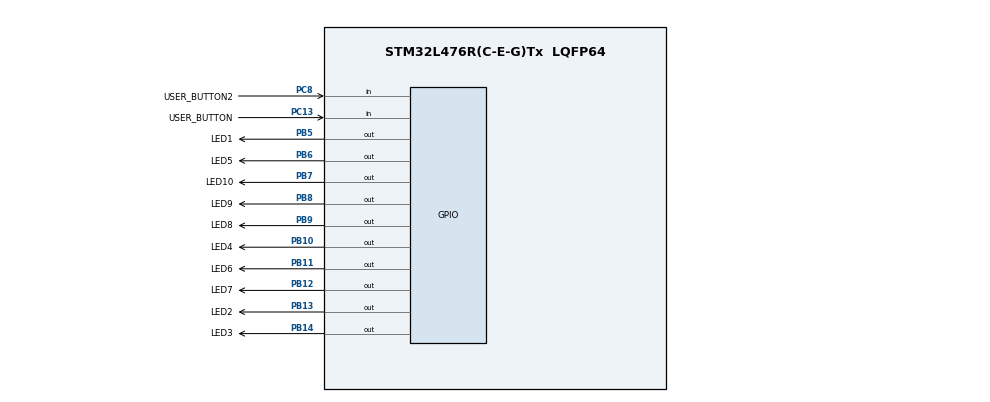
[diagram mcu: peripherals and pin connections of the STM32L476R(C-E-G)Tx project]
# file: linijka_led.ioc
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Mcu.Family=STM32L4
Mcu.Name=STM32L476R(C-E-G)Tx
Mcu.Package=LQFP64
NVIC.PriorityGroup=NVIC_PRIORITYGROUP_4
PB10.GPIO_Label=LED4
PB10.Signal=GPIO_Output
PB11.GPIO_Label=LED6
PB11.Signal=GPIO_Output
PB12.GPIO_Label=LED7
PB12.Signal=GPIO_Output
PB13.GPIO_Label=LED2
PB13.Signal=GPIO_Output
PB14.GPIO_Label=LED3
PB14.Signal=GPIO_Output
PB5.GPIO_Label=LED1
PB5.Signal=GPIO_Output
PB6.GPIO_Label=LED5
PB6.Signal=GPIO_Output
PB7.GPIO_Label=LED10
PB7.Signal=GPIO_Output
PB8.GPIO_Label=LED9
PB8.Signal=GPIO_Output
PB9.GPIO_Label=LED8
PB9.Signal=GPIO_Output
PC13.GPIO_Label=USER_BUTTON
PC13.Signal=GPIO_Input
PC8.GPIO_Label=USER_BUTTON2
PC8.GPIO_PuPd=GPIO_PULLUP
PC8.Signal=GPIO_Input
ProjectManager.HeapSize=0x200
ProjectManager.StackSize=0x400
ProjectManager.TargetToolchain=STM32CubeIDE
RCC.HSE_VALUE=8000000
RCC.HSI_VALUE=16000000
RCC.LSE_VALUE=32768
RCC.MSI_VALUE=4000000
RCC.VCOOutputFreq_Value=32000000
board=custom

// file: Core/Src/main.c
/* USER CODE BEGIN Header */
/**
  ******************************************************************************
  * @file           : main.c
  * @brief          : Main program body
  ******************************************************************************
  * @attention
  *
  * Copyright (c) 2024 STMicroelectronics.
  * All rights reserved.
  *
  * This software is licensed under terms that can be found in the LICENSE file
  * in the root directory of this software component.
  * If no LICENSE file comes with this software, it is provided AS-IS.
  *
  ******************************************************************************
  */
/* USER CODE END Header */
#include "main.h"

/* USER CODE BEGIN Includes */
#include <stdbool.h>

/* USER CODE END Includes */

void SystemClock_Config(void);
static void MX_GPIO_Init(void);

/* USER CODE BEGIN 0 */
/*
void led_set(int led, bool turn_on)
{
	GPIO_PinState state;

	if (turn_on) {
		state = GPIO_PIN_SET;
	} else {
		state = GPIO_PIN_RESET;
	}

	if (led >= 0 && led < 10) {
		HAL_GPIO_WritePin(LED1_GPIO_Port, LED1_Pin << led, state);
	}
}*/
//Ta sama funkcja na swich
/*
 *

void led_set(int led, bool turn_on)
{
	GPIO_PinState state = (turn_on) ? GPIO_PIN_SET : GPIO_PIN_RESET;

	switch (led) {
	case 0:
		HAL_GPIO_WritePin(LED1_GPIO_Port, LED1_Pin, state);
		break;
	case 1:
		HAL_GPIO_WritePin(LED2_GPIO_Port, LED2_Pin, state);
		break;
	case 2:
		HAL_GPIO_WritePin(LED3_GPIO_Port, LED3_Pin, state);
		break;
	case 3:
		HAL_GPIO_WritePin(LED4_GPIO_Port, LED4_Pin, state);
		break;
	case 4:
		HAL_GPIO_WritePin(LED5_GPIO_Port, LED5_Pin, state);
		break;
	case 5:
		HAL_GPIO_WritePin(LED6_GPIO_Port, LED6_Pin, state);
		break;
	case 6:
		HAL_GPIO_WritePin(LED7_GPIO_Port, LED7_Pin, state);
		break;
	case 7:
		HAL_GPIO_WritePin(LED8_GPIO_Port, LED8_Pin, state);
		break;
	case 8:
		HAL_GPIO_WritePin(LED9_GPIO_Port, LED9_Pin, state);
		break;
	case 9:
		HAL_GPIO_WritePin(LED10_GPIO_Port, LED10_Pin, state);
		break;
	default:
		break;
	}
}
 *
 */
//jeszcze raz to samo, ale na tablicach
/*
static GPIO_TypeDef* const LED_PORT[] = {
		LED1_GPIO_Port, LED2_GPIO_Port, LED3_GPIO_Port, LED4_GPIO_Port, LED5_GPIO_Port,
		LED6_GPIO_Port, LED7_GPIO_Port, LED8_GPIO_Port, LED9_GPIO_Port, LED10_GPIO_Port,
};
static const uint16_t LED_PIN[] = {
    LED1_Pin, LED2_Pin, LED3_Pin, LED4_Pin, LED5_Pin,
    LED6_Pin, LED7_Pin, LED8_Pin, LED9_Pin, LED10_Pin,
};

void led_set(int led, bool turn_on)
{
    GPIO_PinState state = (turn_on) ? GPIO_PIN_SET : GPIO_PIN_RESET;

    if (led >= 0 && led < 10)
    		HAL_GPIO_WritePin(LED_PORT[led], LED_PIN[led], state);
}
*/
//jeszcze raz to samo ale zamisat dwóch tablic 1 struktura
typedef struct {
	GPIO_TypeDef* port;
	uint16_t pin;
}pin_t;

static const pin_t LED[] = {
		{ LED1_GPIO_Port, LED1_Pin },
		{ LED2_GPIO_Port, LED2_Pin },
		{ LED3_GPIO_Port, LED3_Pin },
		{ LED4_GPIO_Port, LED4_Pin },
		{ LED5_GPIO_Port, LED5_Pin },
		{ LED6_GPIO_Port, LED6_Pin },
		{ LED7_GPIO_Port, LED7_Pin },
		{ LED8_GPIO_Port, LED8_Pin },
		{ LED9_GPIO_Port, LED9_Pin },
		{ LED10_GPIO_Port, LED10_Pin },
};

bool is_button_pressed(int button) {
	  switch (button) {
	  case 0:
	    if (HAL_GPIO_ReadPin(USER_BUTTON_GPIO_Port, USER_BUTTON_Pin) == GPIO_PIN_RESET) {
	      return true;
	    } else {
	      return false;
	    }
	  case 1:
	    if (HAL_GPIO_ReadPin(USER_BUTTON2_GPIO_Port, USER_BUTTON2_Pin) == GPIO_PIN_RESET) {
	      return true;
	    } else {
	      return false;
	    }

	  default:
	    return false;
	  }
	}

void led_set(int led, bool turn_on)
{
	GPIO_PinState state = (turn_on) ? GPIO_PIN_SET : GPIO_PIN_RESET;

	if (led >= 0 && led < 10) {
		HAL_GPIO_WritePin(LED[led].port, LED[led].pin, state);
        }
}

/* USER CODE END 0 */

int main(void)
{

  /* MCU Configuration--------------------------------------------------------*/

  /* Reset of all peripherals, Initializes the Flash interface and the Systick. */
  HAL_Init();

  /* Configure the system clock */
  SystemClock_Config();

  /* Initialize all configured peripherals */
  MX_GPIO_Init();

  /* Infinite loop */
  /* USER CODE BEGIN WHILE */
  int led = 0;
  led_set(led, true);
  while (1)
  {
	  /*
	   * for (int i = 0; i < 10; i++) {
	  		HAL_GPIO_WritePin(LED1_GPIO_Port, LED1_Pin << i, GPIO_PIN_SET);
	  		HAL_Delay(100);
	  		HAL_GPIO_WritePin(LED1_GPIO_Port, LED1_Pin << i, GPIO_PIN_RESET);
	  	}
	  	*/
	  //linijka po kolei zapalją się diody
/*
	  for (int i = 0; i < 10; i++) {
	      // zapal diodę
	      led_set(i, true);
	      // poczekaj 100 ms
	      HAL_Delay(100);
	      // zgaś diodę
	      led_set(i, false);
	    }*/
	  //diody zapalane wyzwalaczem czyli przyciskiem
	  if (is_button_pressed(0)) {
	  		// Po wcisnieciu przycisku wylacz diodę
	  		led_set(led, false);

	  		// Zwieksz zawartosc zmiennej led
	  		//led++;
	  		// Sprawdz czy nie przekracza zakresu
	  		if (++led >= 10) {
	  		  led = 0;
	  		}

	  		// Wlacz kolejna diode
	  		led_set(led, true);
	  	}
	  // czekamy na zwolnienie przycisku
	    while (is_button_pressed(0))
	      {}
	    //HAL_Delay(20);
	    if (is_button_pressed(1)) {
	    		// Po wcisnieciu przycisku wylacz diodę
	    		led_set(led, false);

	    		// Zmniejsz zawartosc zmiennej led
	    		led--;
	    		// Sprawdz czy nie przekracza zakresu
	    		if (led < 0) {
	    		  led = 9;
	    		}
	    		// oczekiwanie na ustanie drgań styków
	    		    //HAL_Delay(20);

	    		// Wlacz kolejna diode
	    		led_set(led, true);

	    		// czekamy na zwolnienie przycisku
	    		while (is_button_pressed(1)) {}
	    		// opóźnienie na wypadek drgań po zwolnieniu przycisku
	    		    //HAL_Delay(20);
	    	}
    /* USER CODE END WHILE */

  }
}

void SystemClock_Config(void)
{
  RCC_OscInitTypeDef RCC_OscInitStruct = {0};
  RCC_ClkInitTypeDef RCC_ClkInitStruct = {0};

  /** Configure the main internal regulator output voltage
  */
  if (HAL_PWREx_ControlVoltageScaling(PWR_REGULATOR_VOLTAGE_SCALE1) != HAL_OK)
  {
    Error_Handler();
  }

  /** Initializes the RCC Oscillators according to the specified parameters
  * in the RCC_OscInitTypeDef structure.
  */
  RCC_OscInitStruct.OscillatorType = RCC_OSCILLATORTYPE_MSI;
  RCC_OscInitStruct.MSIState = RCC_MSI_ON;
  RCC_OscInitStruct.MSICalibrationValue = 0;
  RCC_OscInitStruct.MSIClockRange = RCC_MSIRANGE_6;
  RCC_OscInitStruct.PLL.PLLState = RCC_PLL_NONE;
  if (HAL_RCC_OscConfig(&RCC_OscInitStruct) != HAL_OK)
  {
    Error_Handler();
  }

  /** Initializes the CPU, AHB and APB buses clocks
  */
  RCC_ClkInitStruct.ClockType = RCC_CLOCKTYPE_HCLK|RCC_CLOCKTYPE_SYSCLK
                              |RCC_CLOCKTYPE_PCLK1|RCC_CLOCKTYPE_PCLK2;
  RCC_ClkInitStruct.SYSCLKSource = RCC_SYSCLKSOURCE_MSI;
  RCC_ClkInitStruct.AHBCLKDivider = RCC_SYSCLK_DIV1;
  RCC_ClkInitStruct.APB1CLKDivider = RCC_HCLK_DIV1;
  RCC_ClkInitStruct.APB2CLKDivider = RCC_HCLK_DIV1;

  if (HAL_RCC_ClockConfig(&RCC_ClkInitStruct, FLASH_LATENCY_0) != HAL_OK)
  {
    Error_Handler();
  }
}

static void MX_GPIO_Init(void)
{
  GPIO_InitTypeDef GPIO_InitStruct = {0};

  /* GPIO Ports Clock Enable */
  __HAL_RCC_GPIOC_CLK_ENABLE();
  __HAL_RCC_GPIOB_CLK_ENABLE();

  /*Configure GPIO pin Output Level */
  HAL_GPIO_WritePin(GPIOB, LED4_Pin|LED6_Pin|LED7_Pin|LED2_Pin
                          |LED3_Pin|LED1_Pin|LED5_Pin|LED10_Pin
                          |LED9_Pin|LED8_Pin, GPIO_PIN_RESET);

  /*Configure GPIO pin : USER_BUTTON_Pin */
  GPIO_InitStruct.Pin = USER_BUTTON_Pin;
  GPIO_InitStruct.Mode = GPIO_MODE_INPUT;
  GPIO_InitStruct.Pull = GPIO_NOPULL;
  HAL_GPIO_Init(USER_BUTTON_GPIO_Port, &GPIO_InitStruct);

  /*Configure GPIO pins : LED4_Pin LED6_Pin LED7_Pin LED2_Pin
                           LED3_Pin LED1_Pin LED5_Pin LED10_Pin
                           LED9_Pin LED8_Pin */
  GPIO_InitStruct.Pin = LED4_Pin|LED6_Pin|LED7_Pin|LED2_Pin
                          |LED3_Pin|LED1_Pin|LED5_Pin|LED10_Pin
                          |LED9_Pin|LED8_Pin;
  GPIO_InitStruct.Mode = GPIO_MODE_OUTPUT_PP;
  GPIO_InitStruct.Pull = GPIO_NOPULL;
  GPIO_InitStruct.Speed = GPIO_SPEED_FREQ_LOW;
  HAL_GPIO_Init(GPIOB, &GPIO_InitStruct);

  /*Configure GPIO pin : USER_BUTTON2_Pin */
  GPIO_InitStruct.Pin = USER_BUTTON2_Pin;
  GPIO_InitStruct.Mode = GPIO_MODE_INPUT;
  GPIO_InitStruct.Pull = GPIO_PULLUP;
  HAL_GPIO_Init(USER_BUTTON2_GPIO_Port, &GPIO_InitStruct);

}

void Error_Handler(void)
{
  __disable_irq();
  while (1)
  {
  }
}
